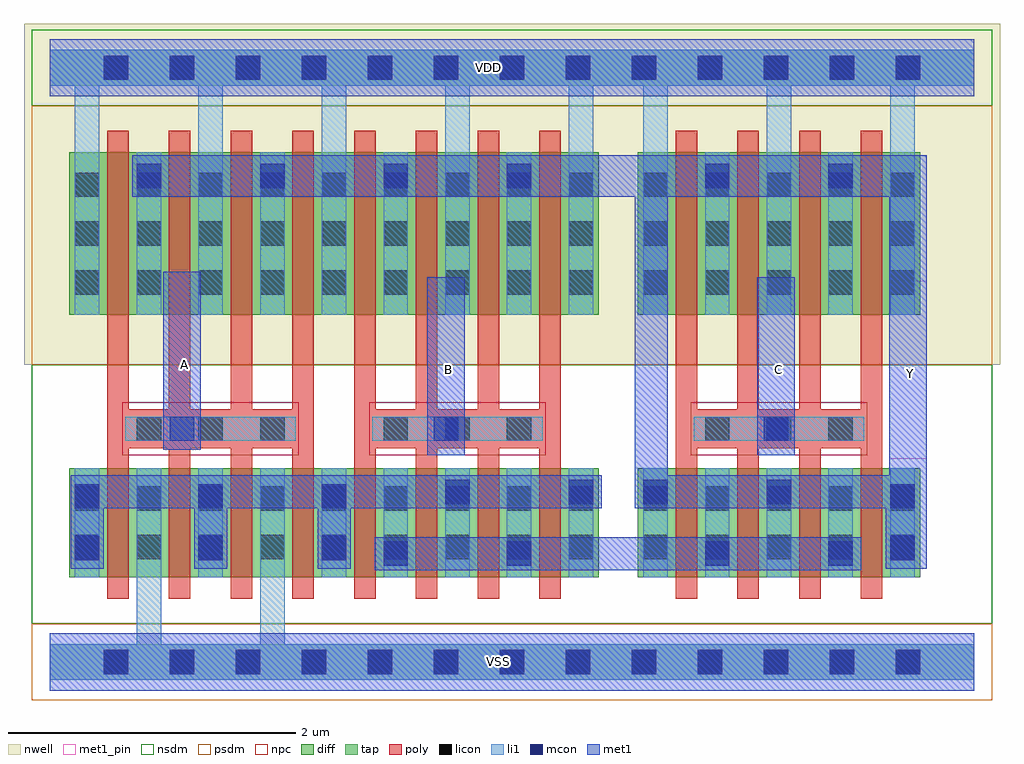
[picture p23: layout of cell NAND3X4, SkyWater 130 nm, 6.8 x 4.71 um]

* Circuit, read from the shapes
.subckt NAND3X4 A B C VDD VSS Y
XM1 VSS A n1 VSS sky130_fd_pr__nfet_01v8 w=0.76 l=0.15 m=4
XM2 n2 B n1 VSS sky130_fd_pr__nfet_01v8 w=0.76 l=0.15 m=4
XM3 n2 C Y VSS sky130_fd_pr__nfet_01v8 w=0.76 l=0.15 m=4
XM4 Y A VDD VDD sky130_fd_pr__pfet_01v8 w=1.13 l=0.15 m=4
XM5 Y B VDD VDD sky130_fd_pr__pfet_01v8 w=1.13 l=0.15 m=4
XM6 Y C VDD VDD sky130_fd_pr__pfet_01v8 w=1.13 l=0.15 m=4
.ends

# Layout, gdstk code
from math import pi, radians
import gdstk
lib = gdstk.Library(unit=1e-6, precision=1e-09)
def R(c, l, rs):  # rectangles x0, y0, x1, y1
    for r in rs: c.add(gdstk.rectangle(r[:2], r[2:], *l))
def A(c, l, x, y, w, h, nx, ny, dx, dy):  # array of equal rectangles
    R(c, l, [(x+i*dx, y+j*dy, x+i*dx+w, y+j*dy+h) for i in range(nx) for j in range(ny)])
nwell = (64, 20)
diff = (65, 20)
tap = (65, 44)
poly = (66, 20)
licon = (66, 44)
li1 = (67, 20)
mcon = (67, 44)
met1_pin = (68, 16)
met1 = (68, 20)
nsdm = (93, 44)
psdm = (94, 20)
npc = (95, 20)

pyl1con_c_cdns_750710154 = lib.new_cell('PYL1CON_C_CDNS_750710154092')
R(pyl1con_c_cdns_750710154, poly, [(-0.135,-0.165,0.135,0.165)])
R(pyl1con_c_cdns_750710154, licon, [(-0.085,-0.085,0.085,0.085)])
R(pyl1con_c_cdns_750710154, npc, [(-0.185,-0.185,0.185,0.185)])

l1m1_c_cdns_750710154090 = lib.new_cell('L1M1_C_CDNS_750710154090')
R(l1m1_c_cdns_750710154090, li1, [(-0.165,-0.085,0.165,0.085)])
R(l1m1_c_cdns_750710154090, mcon, [(-0.085,-0.085,0.085,0.085)])
R(l1m1_c_cdns_750710154090, met1, [(-0.115,-0.145,0.115,0.145)])

l1m1_c_cdns_750710154093 = lib.new_cell('L1M1_C_CDNS_750710154093')
R(l1m1_c_cdns_750710154093, li1, [(-0.085,-0.165,0.085,0.165)])
R(l1m1_c_cdns_750710154093, mcon, [(-0.085,-0.085,0.085,0.085)])
R(l1m1_c_cdns_750710154093, met1, [(-0.145,-0.115,0.145,0.115)])

l1m1_c_cdns_750710154091 = lib.new_cell('L1M1_C_CDNS_750710154091')
R(l1m1_c_cdns_750710154091, li1, [(-0.085,-0.165,0.085,0.165)])
R(l1m1_c_cdns_750710154091, mcon, [(-0.085,-0.085,0.085,0.085)])
R(l1m1_c_cdns_750710154091, met1, [(-0.115,-0.145,0.115,0.145)])

l1m1_c_cdns_750710154094 = lib.new_cell('L1M1_C_CDNS_750710154094')
R(l1m1_c_cdns_750710154094, li1, [(-0.085,-0.345,0.085,0.345)])
R(l1m1_c_cdns_750710154094, mcon, [(-0.085,-0.265,0.085,-0.095), (-0.085,0.095,0.085,0.265)])
R(l1m1_c_cdns_750710154094, met1, [(-0.115,-0.325,0.115,0.325)])

nand3x4 = lib.new_cell('NAND3X4')
R(nand3x4, nwell, [(-0.18,2.07,6.62,4.305), (-0.045,2.24,2.245,3.73), (1.885,2.24,4.005,3.73), (3.915,2.24,6.245,3.73), (-0.18,3.875,6.62,4.445)])
A(nand3x4, diff, 0.4, 0.59, 0.15, 0.76, 8, 1, 0.43, 0)
A(nand3x4, diff, 0.55, 0.59, 0.28, 0.76, 3, 1, 0.43, 0)
A(nand3x4, diff, 2.27, 0.59, 0.28, 0.76, 3, 1, 0.43, 0)
A(nand3x4, diff, 4.36, 0.59, 0.15, 0.76, 4, 1, 0.43, 0)
A(nand3x4, diff, 4.51, 0.59, 0.28, 0.76, 3, 1, 0.43, 0)
A(nand3x4, diff, 0.4, 2.42, 0.15, 1.13, 8, 1, 0.43, 0)
A(nand3x4, diff, 0.55, 2.42, 0.28, 1.13, 3, 1, 0.43, 0)
A(nand3x4, diff, 2.27, 2.42, 0.28, 1.13, 3, 1, 0.43, 0)
A(nand3x4, diff, 4.36, 2.42, 0.15, 1.13, 4, 1, 0.43, 0)
A(nand3x4, diff, 4.51, 2.42, 0.28, 1.13, 3, 1, 0.43, 0)
R(nand3x4, diff, [(0.135,0.59,0.4,1.35), (1.84,0.59,2.065,1.35), (2.065,0.59,2.12,1.35), (3.56,0.59,3.825,1.35), (4.095,0.59,4.36,1.35), (5.8,0.59,6.065,1.35), (0.135,2.42,0.4,3.55), (1.84,2.42,2.065,3.55), (2.065,2.42,2.12,3.55), (3.56,2.42,3.825,3.55), (4.095,2.42,4.36,3.55), (5.8,2.42,6.065,3.55)])
A(nand3x4, poly, 0.4, 0.44, 0.15, 0.055, 8, 2, 0.43, 1.005)
A(nand3x4, poly, 4.36, 0.44, 0.15, 0.055, 4, 2, 0.43, 1.005)
A(nand3x4, poly, 0.4, 0.495, 0.15, 0.095, 8, 2, 0.43, 0.855)
A(nand3x4, poly, 4.36, 0.495, 0.15, 0.095, 4, 2, 0.43, 0.855)
A(nand3x4, poly, 0.4, 0.59, 0.15, 0.76, 8, 1, 0.43, 0)
A(nand3x4, poly, 4.36, 0.59, 0.15, 0.76, 4, 1, 0.43, 0)
A(nand3x4, poly, 0.4, 2.27, 0.15, 0.055, 8, 2, 0.43, 1.375)
A(nand3x4, poly, 4.36, 2.27, 0.15, 0.055, 4, 2, 0.43, 1.375)
A(nand3x4, poly, 0.4, 2.325, 0.15, 0.095, 8, 2, 0.43, 1.225)
A(nand3x4, poly, 4.36, 2.325, 0.15, 0.095, 4, 2, 0.43, 1.225)
A(nand3x4, poly, 0.4, 2.42, 0.15, 1.13, 8, 1, 0.43, 0)
A(nand3x4, poly, 4.36, 2.42, 0.15, 1.13, 4, 1, 0.43, 0)
A(nand3x4, licon, 0.375, -0.085, 0.17, 0.17, 13, 2, 0.46, 4.14)
A(nand3x4, licon, 0.175, 0.715, 0.17, 0.17, 9, 2, 0.43, 0.34)
A(nand3x4, licon, 4.135, 0.715, 0.17, 0.17, 5, 2, 0.43, 0.34)
A(nand3x4, licon, 0.175, 2.56, 0.17, 0.17, 9, 3, 0.43, 0.34)
A(nand3x4, licon, 4.135, 2.56, 0.17, 0.17, 5, 3, 0.43, 0.34)
A(nand3x4, li1, 0.175, 0.59, 0.17, 0.76, 9, 1, 0.43, 0)
A(nand3x4, li1, 4.135, 0.59, 0.17, 0.76, 5, 1, 0.43, 0)
A(nand3x4, li1, 0.175, 2.42, 0.17, 1.13, 9, 1, 0.43, 0)
A(nand3x4, li1, 4.135, 2.42, 0.17, 1.13, 5, 1, 0.43, 0)
A(nand3x4, mcon, 0.375, -0.085, 0.17, 0.17, 13, 2, 0.46, 4.14)
R(nand3x4, met1_pin, [(5.85,1.415,6.11,2.655), (2.63,1.44,2.89,2.68), (4.93,1.44,5.19,2.68), (0.79,1.48,1.05,2.72)])
R(nand3x4, nsdm, [(-0.125,0.265,6.565,2.07), (-0.005,0.46,2.075,1.48), (2.055,0.46,3.965,1.48), (3.955,0.46,6.205,1.48), (-0.125,3.875,6.565,4.405), (-0.125,3.93,6.565,4.35)])
R(nand3x4, psdm, [(-0.125,-0.265,6.565,0.265), (-0.125,-0.21,6.565,0.21), (-0.125,2.07,6.565,3.875), (-0.005,2.29,2.075,3.68), (2.055,2.29,3.965,3.68), (3.955,2.29,6.205,3.68)])
R(nand3x4, npc, [(0.505,1.44,1.735,1.81), (2.225,1.44,3.455,1.81), (4.465,1.44,5.695,1.81)])
nand3x4.add(gdstk.FlexPath([(0.475,2.42),(0.475,1.35)], 0.15, ends="flush", simple_path=True, layer=66, datatype=20))  # poly
nand3x4.add(gdstk.FlexPath([(1.335,2.42),(1.335,1.35)], 0.15, ends="flush", simple_path=True, layer=66, datatype=20))  # poly
nand3x4.add(gdstk.FlexPath([(2.195,2.42),(2.195,1.35)], 0.15, ends="flush", simple_path=True, layer=66, datatype=20))  # poly
nand3x4.add(gdstk.FlexPath([(3.055,2.42),(3.055,1.35)], 0.15, ends="flush", simple_path=True, layer=66, datatype=20))  # poly
nand3x4.add(gdstk.FlexPath([(4.435,2.42),(4.435,1.35)], 0.15, ends="flush", simple_path=True, layer=66, datatype=20))  # poly
nand3x4.add(gdstk.FlexPath([(5.295,2.42),(5.295,1.35)], 0.15, ends="flush", simple_path=True, layer=66, datatype=20))  # poly
nand3x4.add(gdstk.FlexPath([(0.905,2.42),(0.905,1.35)], 0.15, ends="flush", simple_path=True, layer=66, datatype=20))  # poly
nand3x4.add(gdstk.FlexPath([(1.765,2.42),(1.765,1.35)], 0.15, ends="flush", simple_path=True, layer=66, datatype=20))  # poly
nand3x4.add(gdstk.FlexPath([(2.625,2.42),(2.625,1.35)], 0.15, ends="flush", simple_path=True, layer=66, datatype=20))  # poly
nand3x4.add(gdstk.FlexPath([(3.485,2.42),(3.485,1.35)], 0.15, ends="flush", simple_path=True, layer=66, datatype=20))  # poly
nand3x4.add(gdstk.FlexPath([(4.865,2.42),(4.865,1.35)], 0.15, ends="flush", simple_path=True, layer=66, datatype=20))  # poly
nand3x4.add(gdstk.FlexPath([(5.725,2.42),(5.725,1.35)], 0.15, ends="flush", simple_path=True, layer=66, datatype=20))  # poly
nand3x4.add(gdstk.FlexPath([(0,0),(6.44,0)], 0.25, ends="flush", simple_path=True, layer=67, datatype=20))  # li1
nand3x4.add(gdstk.FlexPath([(5.94,3.55),(5.94,4.265)], 0.17, ends="flush", simple_path=True, layer=67, datatype=20))  # li1
nand3x4.add(gdstk.FlexPath([(5.08,3.55),(5.08,4.265)], 0.17, ends="flush", simple_path=True, layer=67, datatype=20))  # li1
nand3x4.add(gdstk.FlexPath([(4.22,3.55),(4.22,4.265)], 0.17, ends="flush", simple_path=True, layer=67, datatype=20))  # li1
nand3x4.add(gdstk.FlexPath([(0,4.14),(6.44,4.14)], 0.25, ends="flush", simple_path=True, layer=67, datatype=20))  # li1
nand3x4.add(gdstk.FlexPath([(0.525,1.625),(1.715,1.625)], 0.17, ends="flush", simple_path=True, layer=67, datatype=20))  # li1
nand3x4.add(gdstk.FlexPath([(4.485,1.625),(5.675,1.625)], 0.17, ends="flush", simple_path=True, layer=67, datatype=20))  # li1
nand3x4.add(gdstk.FlexPath([(1.55,-0.125),(1.55,0.59)], 0.17, ends="flush", simple_path=True, layer=67, datatype=20))  # li1
nand3x4.add(gdstk.FlexPath([(0.26,3.55),(0.26,4.265)], 0.17, ends="flush", simple_path=True, layer=67, datatype=20))  # li1
nand3x4.add(gdstk.FlexPath([(1.98,3.55),(1.98,4.265)], 0.17, ends="flush", simple_path=True, layer=67, datatype=20))  # li1
nand3x4.add(gdstk.FlexPath([(3.7,3.55),(3.7,4.265)], 0.17, ends="flush", simple_path=True, layer=67, datatype=20))  # li1
nand3x4.add(gdstk.FlexPath([(2.245,1.625),(3.435,1.625)], 0.17, ends="flush", simple_path=True, layer=67, datatype=20))  # li1
nand3x4.add(gdstk.FlexPath([(0.69,-0.125),(0.69,0.59)], 0.17, ends="flush", simple_path=True, layer=67, datatype=20))  # li1
nand3x4.add(gdstk.FlexPath([(1.12,3.55),(1.12,4.265)], 0.17, ends="flush", simple_path=True, layer=67, datatype=20))  # li1
nand3x4.add(gdstk.FlexPath([(2.84,3.55),(2.84,4.265)], 0.17, ends="flush", simple_path=True, layer=67, datatype=20))  # li1
nand3x4.add(gdstk.FlexPath([(0,0),(6.44,0)], 0.25, ends="flush", simple_path=True, layer=65, datatype=44))  # tap
nand3x4.add(gdstk.FlexPath([(0,4.14),(6.44,4.14)], 0.25, ends="flush", simple_path=True, layer=65, datatype=44))  # tap
nand3x4.add(gdstk.FlexPath([(5.98,0.65),(5.98,3.53)], 0.26, ends="flush", simple_path=True, layer=68, datatype=20))  # met1
nand3x4.add(gdstk.FlexPath([(5.06,1.44),(5.06,2.68)], 0.26, ends="flush", simple_path=True, layer=68, datatype=20))  # met1
nand3x4.add(gdstk.FlexPath([(2.76,1.44),(2.76,2.68)], 0.26, ends="flush", simple_path=True, layer=68, datatype=20))  # met1
nand3x4.add(gdstk.FlexPath([(0.92,1.48),(0.92,2.72)], 0.26, ends="flush", simple_path=True, layer=68, datatype=20))  # met1
nand3x4.add(gdstk.FlexPath([(6.055,1.185),(4.075,1.185)], 0.23, ends="flush", simple_path=True, layer=68, datatype=20))  # met1
nand3x4.add(gdstk.FlexPath([(0,0),(6.44,0)], 0.4, ends="flush", simple_path=True, layer=68, datatype=20))  # met1
nand3x4.add(gdstk.FlexPath([(3.845,1.185),(0.145,1.185)], 0.23, ends="flush", simple_path=True, layer=68, datatype=20))  # met1
nand3x4.add(gdstk.FlexPath([(5.655,0.755),(2.265,0.755)], 0.23, ends="flush", simple_path=True, layer=68, datatype=20))  # met1
nand3x4.add(gdstk.FlexPath([(6.055,3.385),(0.575,3.385)], 0.29, ends="flush", simple_path=True, layer=68, datatype=20))  # met1
nand3x4.add(gdstk.FlexPath([(4.19,1.07),(4.19,3.53)], 0.23, ends="flush", simple_path=True, layer=68, datatype=20))  # met1
nand3x4.add(gdstk.FlexPath([(0,4.14),(6.44,4.14)], 0.4, ends="flush", simple_path=True, layer=68, datatype=20))  # met1
nand3x4.add(gdstk.FlexPath([(0,4.14),(6.44,4.14)], 0.4, ends="flush", simple_path=True, layer=68, datatype=16))  # met1_pin
nand3x4.add(gdstk.FlexPath([(0,0),(6.44,0)], 0.4, ends="flush", simple_path=True, layer=68, datatype=16))  # met1_pin
nand3x4.add(gdstk.Reference(pyl1con_c_cdns_750710154, (5.51,1.625), rotation=3*pi/2, x_reflection=True))
nand3x4.add(gdstk.Reference(pyl1con_c_cdns_750710154, (5.08,1.625), rotation=3*pi/2, x_reflection=True))
nand3x4.add(gdstk.Reference(pyl1con_c_cdns_750710154, (4.65,1.625), rotation=3*pi/2, x_reflection=True))
nand3x4.add(gdstk.Reference(pyl1con_c_cdns_750710154, (3.27,1.625), rotation=3*pi/2, x_reflection=True))
nand3x4.add(gdstk.Reference(pyl1con_c_cdns_750710154, (2.84,1.625), rotation=3*pi/2, x_reflection=True))
nand3x4.add(gdstk.Reference(pyl1con_c_cdns_750710154, (2.41,1.625), rotation=3*pi/2, x_reflection=True))
nand3x4.add(gdstk.Reference(pyl1con_c_cdns_750710154, (1.55,1.625), rotation=3*pi/2, x_reflection=True))
nand3x4.add(gdstk.Reference(pyl1con_c_cdns_750710154, (1.12,1.625), rotation=3*pi/2, x_reflection=True))
nand3x4.add(gdstk.Reference(pyl1con_c_cdns_750710154, (0.69,1.625), rotation=3*pi/2, x_reflection=True))
nand3x4.add(gdstk.Reference(l1m1_c_cdns_750710154090, (5.06,1.625), x_reflection=True))
nand3x4.add(gdstk.Reference(l1m1_c_cdns_750710154090, (2.76,1.625), x_reflection=True))
nand3x4.add(gdstk.Reference(l1m1_c_cdns_750710154090, (0.92,1.625), x_reflection=True))
nand3x4.add(gdstk.Reference(l1m1_c_cdns_750710154093, (5.08,1.185)))
nand3x4.add(gdstk.Reference(l1m1_c_cdns_750710154093, (4.22,1.185)))
nand3x4.add(gdstk.Reference(l1m1_c_cdns_750710154093, (3.7,1.185)))
nand3x4.add(gdstk.Reference(l1m1_c_cdns_750710154093, (2.84,1.185)))
nand3x4.add(gdstk.Reference(l1m1_c_cdns_750710154093, (5.51,0.755)))
nand3x4.add(gdstk.Reference(l1m1_c_cdns_750710154093, (4.65,0.755)))
nand3x4.add(gdstk.Reference(l1m1_c_cdns_750710154093, (3.27,0.755)))
nand3x4.add(gdstk.Reference(l1m1_c_cdns_750710154093, (2.41,0.755)))
nand3x4.add(gdstk.Reference(l1m1_c_cdns_750710154091, (5.51,3.385)))
nand3x4.add(gdstk.Reference(l1m1_c_cdns_750710154091, (4.65,3.385)))
nand3x4.add(gdstk.Reference(l1m1_c_cdns_750710154091, (3.27,3.385)))
nand3x4.add(gdstk.Reference(l1m1_c_cdns_750710154091, (2.41,3.385)))
nand3x4.add(gdstk.Reference(l1m1_c_cdns_750710154091, (1.55,3.385)))
nand3x4.add(gdstk.Reference(l1m1_c_cdns_750710154091, (0.69,3.385)))
nand3x4.add(gdstk.Reference(l1m1_c_cdns_750710154094, (5.94,0.975)))
nand3x4.add(gdstk.Reference(l1m1_c_cdns_750710154094, (1.12,0.975)))
nand3x4.add(gdstk.Reference(l1m1_c_cdns_750710154094, (1.98,0.975)))
nand3x4.add(gdstk.Reference(l1m1_c_cdns_750710154094, (0.26,0.975)))
nand3x4.add(gdstk.Label('Y', (5.995,2.01), layer=68, texttype=5))
nand3x4.add(gdstk.Label('C', (5.075,2.035), layer=68, texttype=5))
nand3x4.add(gdstk.Label('B', (2.775,2.035), layer=68, texttype=5))
nand3x4.add(gdstk.Label('A', (0.935,2.075), layer=68, texttype=5))
nand3x4.add(gdstk.Label('VDD', (3.055,4.145), layer=68, texttype=5))
nand3x4.add(gdstk.Label('VSS', (3.125,0.005), layer=68, texttype=5))

lib.write_gds('NAND3X4.gds')
